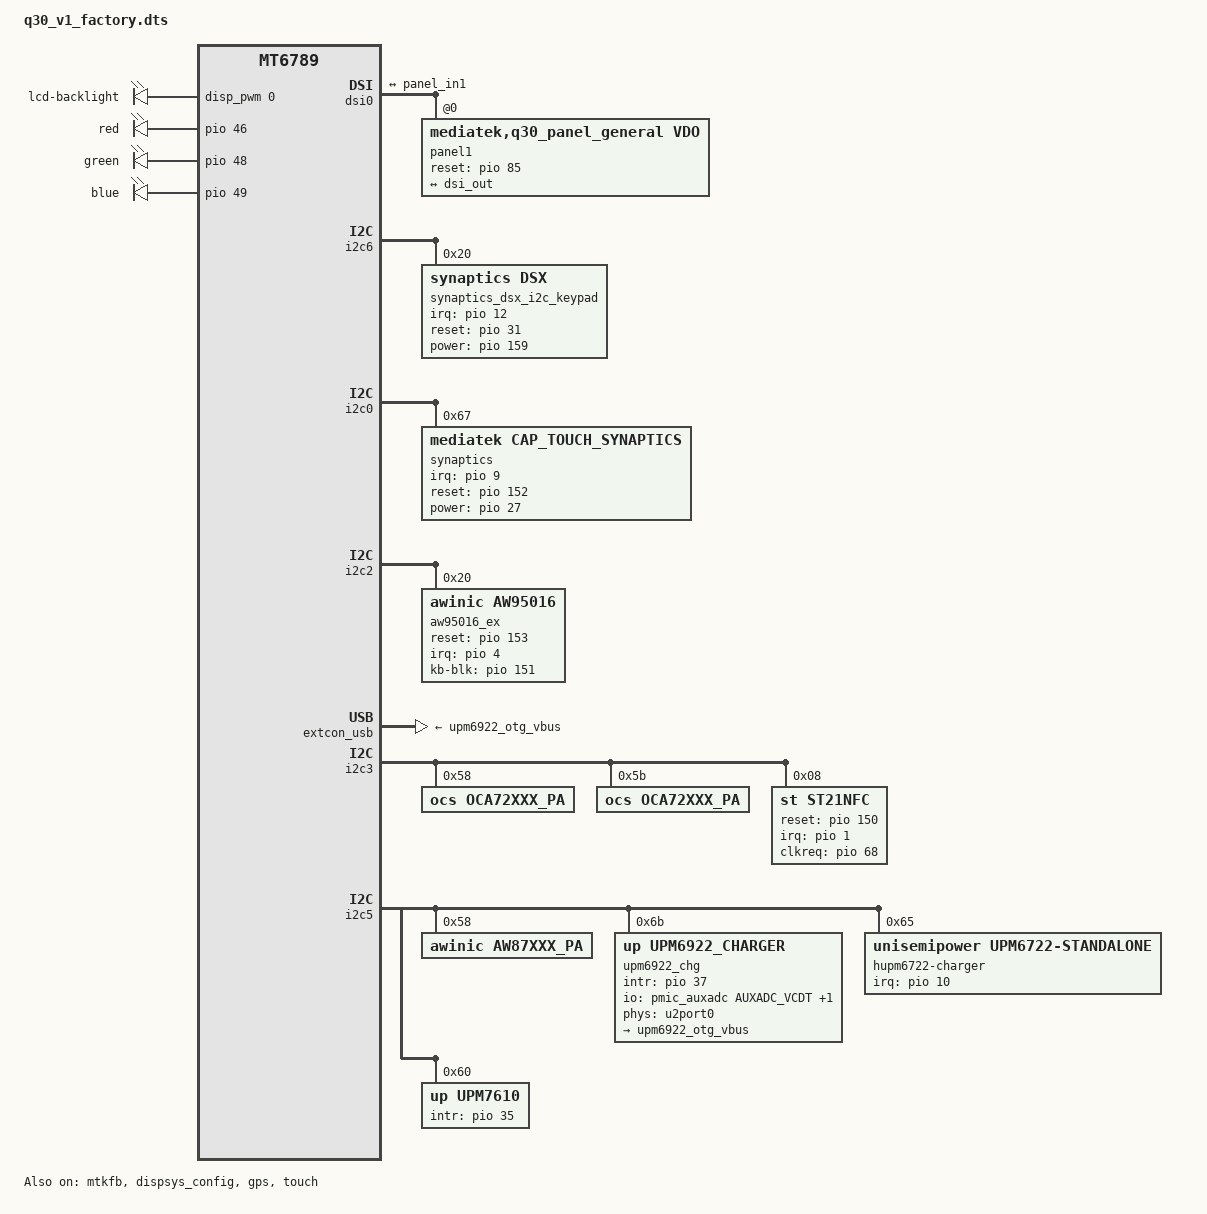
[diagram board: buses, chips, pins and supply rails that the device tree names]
// SPDX-License-Identifier: (GPL-2.0 OR MIT)
/*
 * Copyright (C) 2021 MediaTek Inc.
 */
/dts-v1/;
/plugin/;
#include <dt-bindings/interrupt-controller/arm-gic.h>
#include <dt-bindings/interrupt-controller/irq.h>
#include <dt-bindings/pinctrl/mt6789-pinfunc.h>
#include <dt-bindings/usb/pd.h>
#include <dt-bindings/phy/phy.h>
#include <dt-bindings/iio/mt635x-auxadc.h>
#include "mediatek/cust_mt6789_camera.dtsi"

&chosen {

};

&mtk_leds {
	compatible = "mediatek,pwm-leds";

	backlight {
		label = "lcd-backlight";
		max-brightness = <255>;
		max-hw-brightness = <1023>;
		led_mode = <5>;
		gate_enable = <0>;
		pwm_config = <0 1 0 0 0>;
		pwms = <&disp_pwm 0 39385>;
		pwm-names = "lcd-backlight";
	};
};

&odm {
	leds {
		compatible = "gpio-leds";
		red {
			label = "red";
			gpios = <&pio 46 0>;
			power_off_charge,label = "red1";
			linux,default-trigger = "battery_red";
			default-state = "keep";
		};
		green {
			label = "green";
			gpios = <&pio 48 0>;
			default-state = "keep";
			power_off_charge,label = "green1";
			linux,default-trigger = "battery_green";
		};
		blue {
			label = "blue";
			gpios = <&pio 49 0>;
			default-state = "off";
		};
	};
	
};


&pio {
	mtkfb_pins_lcm_led_en1: lcm_led_en1_gpio {
		pins_cmd_dat {
			pinmux = <PINMUX_GPIO84__FUNC_GPIO84>;
			slew-rate = <1>;
			output-high;
		};
	};

	mtkfb_pins_lcm_led_en0: lcm_led_en0_gpio {
		pins_cmd_dat {
			pinmux = <PINMUX_GPIO84__FUNC_GPIO84>;
			slew-rate = <1>;
			output-low;
		};
	};

	mtkfb_pins_lcm_rst_out1_gpio: lcm_rst_out1_gpio {
		pins_cmd_dat {
			pinmux = <PINMUX_GPIO85__FUNC_GPIO85>;
			slew-rate = <1>;
			output-high;
		};
	};

	mtkfb_pins_lcm_rst_out0_gpio: lcm_rst_out0_gpio {
		pins_cmd_dat {
			pinmux = <PINMUX_GPIO85__FUNC_GPIO85>;
			slew-rate = <1>;
			output-low;
		};
	};
	mtkfb_pins_lcm_dsi_te: lcm_dsi_te {
		pins_cmd_dat {
			pinmux = <PINMUX_GPIO83__FUNC_DSI_TE>;
		};
	};
};

&mtkfb {
	pinctrl-names = "lcm_led_en1_gpio", "lcm_led_en0_gpio",
		"lcm_rst_out1_gpio", "lcm_rst_out0_gpio",
		"mode_te_te";
	pinctrl-0 = <&mtkfb_pins_lcm_led_en1>;
	pinctrl-1 = <&mtkfb_pins_lcm_led_en0>;
	pinctrl-2 = <&mtkfb_pins_lcm_rst_out1_gpio>;
	pinctrl-3 = <&mtkfb_pins_lcm_rst_out0_gpio>;
	pinctrl-4 = <&mtkfb_pins_lcm_dsi_te>;
	status = "okay";
};

&dispsys_config {
	pinctrl-names =
		"lcm_rst_out1_gpio", "lcm_rst_out0_gpio",
		"mode_te_te";
	pinctrl-0 = <&mtkfb_pins_lcm_rst_out1_gpio>;
	pinctrl-1 = <&mtkfb_pins_lcm_rst_out0_gpio>;
	pinctrl-2 = <&mtkfb_pins_lcm_dsi_te>;
	status = "okay";
};

&dsi0 {
	status = "okay";
	#address-cells = <1>;
	#size-cells = <0>;
	
	panel1@0 {
		compatible = "mediatek,q30_panel_general,vdo";
		reg = <0>;
		reset-gpios = <&pio 85 0>;
		/* disp_pwm-gpios = <&pio 84 0>; */
		board_name = "q30_v1";
		port {
			panel_in1: endpoint {
				remote-endpoint = <&dsi_out>;
			};
		};
		
	};
	ports {
		port {
			dsi_out: endpoint {
				remote-endpoint = <&panel_in1>;
			};
		};
	};
};
&accdet {
	accdet-mic-vol = <6>;
	headset-mode-setting = <0x500 0x500 1 0x1f0 0x800 0x800 0x20 0x44>,
	                       < 0x0 0x0 0xe 0x0 0x0 0x0 0x0 0x0>;
	accdet-plugout-debounce = <1>;
	/*1:ACC mode, 2:low cost without in bias, 6:low cost with in bias*/
	accdet-mic-mode = <1>;
	/* eint_level_trigger: 8,LEVEL_LOW(DEF) ;4,LV_HIGH;others,LV_LOW */
	headset-eint-level-pol = <8>;
	/*0--MD_MAX--UP_MAX--DW_MAX*/
	headset-three-key-threshold = <0 80 220 400>;
	headset-three-key-threshold-CDD = <0 121 192 600>;
	/*0--MD_MAX--VOICE_MAX--UP_MAX--DW_MAX*/
	headset-four-key-threshold = <0 58 121 192 400>;
};


/* GPS GPIO standardization start */
&pio {
	gps_pins_default: gps_default {
	};
	gps_l1_lna_pins_ol: gps_l1_lna@0 {
		pins_cmd_dat {
			pinmux = <PINMUX_GPIO25__FUNC_GPIO25>;
			output-low;
		};
	};
	gps_l1_lna_pins_dsp_ctrl: gps_l1_lna@1 {
		pins_cmd_dat {
			pinmux = <PINMUX_GPIO25__FUNC_GPS_L1_ELNA_EN>;
		};
	};
	gps_l1_lna_pins_oh: gps_l1_lna@2 {
		pins_cmd_dat {
			pinmux = <PINMUX_GPIO25__FUNC_GPIO25>;
			output-high;
		};
	};
	gps_l5_lna_pins_ol: gps_l5_lna@0 {
		pins_cmd_dat {
			pinmux = <PINMUX_GPIO87__FUNC_GPIO87>;
			output-low;
		};
	};
	gps_l5_lna_pins_dsp_ctrl: gps_l5_lna@1 {
		pins_cmd_dat {
			pinmux = <PINMUX_GPIO87__FUNC_GPS_L5_ELNA_EN>;
		};
	};
	gps_l5_lna_pins_oh: gps_l5_lna@2 {
		pins_cmd_dat {
			pinmux = <PINMUX_GPIO87__FUNC_GPIO87>;
			output-high;
		};
	};
};
&gps {
	pinctrl-names = "default",
		"gps_l1_lna_disable",
		"gps_l1_lna_dsp_ctrl",
		"gps_l1_lna_enable",
		"gps_l5_lna_disable",
		"gps_l5_lna_dsp_ctrl",
		"gps_l5_lna_enable";
	pinctrl-0 = <&gps_pins_default>;
	pinctrl-1 = <&gps_l1_lna_pins_ol>;
	pinctrl-2 = <&gps_l1_lna_pins_dsp_ctrl>;
	pinctrl-3 = <&gps_l1_lna_pins_oh>;
	pinctrl-4 = <&gps_l5_lna_pins_ol>;
	pinctrl-5 = <&gps_l5_lna_pins_dsp_ctrl>;
	pinctrl-6 = <&gps_l5_lna_pins_oh>;
	status = "okay";
};
/* GPS GPIO standardization end */
#include "mediatek/cust_mt6789_camera_v4l2.dtsi"

&pdc {
	pd_vbus_upper_bound = <12000000>;
};

&charger {
		charger = <&upm6922_chg>;
		algorithm_name = "Basic";
		disable_aicl;

		/* common */
		battery_cv = <4440000>;
		max_charger_voltage = <12000000>;
		min_charger_voltage = <4600000>;

		/* sw jeita */
		/* enable_vbat_mon = <1>; */
		/* enable_sw_jeita; */
		jeita_temp_above_t4_cv = <4240000>;
		jeita_temp_t3_to_t4_cv = <4240000>;
		jeita_temp_t2_to_t3_cv = <4340000>;
		jeita_temp_t1_to_t2_cv = <4240000>;
		jeita_temp_t0_to_t1_cv = <4040000>;
		jeita_temp_below_t0_cv = <4040000>;
		temp_t4_thres = <50>;
		temp_t4_thres_minus_x_degree = <47>;
		temp_t3_thres = <45>;
		temp_t3_thres_minus_x_degree = <39>;
		temp_t2_thres = <10>;
		temp_t2_thres_plus_x_degree = <16>;
		temp_t1_thres = <0>;
		temp_t1_thres_plus_x_degree = <6>;
		temp_t0_thres = <0>;
		temp_t0_thres_plus_x_degree = <0>;
		temp_neg_10_thres = <0>;

		/* battery temperature protection */
		enable_min_charge_temp;
		min_charge_temp = <(-5)>;
		min_charge_temp_plus_x_degree = <1>;
		max_charge_temp = <55>;
		max_charge_temp_minus_x_degree = <53>;

		/* charging current */
		usb_charger_current = <500000>;
		ac_charger_current = <3250000>;
		ac_charger_input_current = <3000000>;
		charging_host_charger_current = <3250000>;

		/* dynamic mivr */
		/* enable_dynamic_mivr;*/
		min_charger_voltage_1 = <4400000>;
		min_charger_voltage_2 = <4200000>;
		max_dmivr_charger_current = <1800000>;

		/* fast charging algo support indicator */
		/* enable_fast_charging_indicator; */
};


&pe5 {
	polling_interval = <10000>;
	ta_cv_ss_repeat_tmin = <25>;
	vbat_cv = <4440>;
	start_soc_min = <0>;
	start_soc_max = <80>;
	start_vbat_max = <4300>;
	idvchg_term = <500>;
	idvchg_step = <50>;
	ita_level = <3000 2500 2000 1500>;
	rcable_level = <250 300 375 500>;
	ita_level_dual = <5000 3700 3400 3000>;
	rcable_level_dual = <230 350 450 550>;
	idvchg_ss_init = <1000>;
	idvchg_ss_step = <250>;
	idvchg_ss_step1 = <100>;
	idvchg_ss_step2 = <50>;
	idvchg_ss_step1_vbat = <4000>;
	idvchg_ss_step2_vbat = <4200>;
	ta_blanking = <400>;
	swchg_aicr = <0>;
	swchg_ichg = <2000>;
	swchg_aicr_ss_init = <400>;
	swchg_aicr_ss_step = <200>;
	swchg_off_vbat = <4250>;
	force_ta_cv_vbat = <4400>;
	chg_time_max = <5400>;
	tta_level_def = <0 0 0 0 25 50 60 70 80>;
	tta_curlmt = <0 0 0 0 0 300 600 900 (-1)>;
	tta_recovery_area = <3>;
	tbat_level_def = <0 0 0 5 25 40 43 46 50>;
	tbat_curlmt = <(-1) (-1) (-1) 300 0 600 900 1050 (-1)>;
	tbat_recovery_area = <3>;
	tdvchg_level_def = <0 0 0 5 25 65 70 75 90>;
	tdvchg_curlmt = <(-1) (-1) (-1) 300 0 300 600 900 (-1)>;
	tdvchg_recovery_area = <3>;
	tswchg_level_def = <0 0 0 5 25 65 70 75 80>;
	tswchg_curlmt = <(-1) (-1) (-1) 200 0 200 300 400 (-1)>;
	tswchg_recovery_area = <3>;
	ifod_threshold = <200>;
	rsw_min = <20>;
	ircmp_rbat = <40>;
	ircmp_vclamp = <0>;
	vta_cap_min = <6800>;
	vta_cap_max = <11000>;
	ita_cap_min = <1000>;
	support_ta = "pca_ta_pps", "pd_adapter";
	allow_not_check_ta_status;
	vbat_threshold = <4250>;
};

&i2c6 {
	synaptics_dsx_i2c_keypad@20 {
		compatible = "synaptics,dsx";
		reg = <0x20>;
		synaptics,input-device-name = "touch_kbd";
		synaptics,irq-gpio = <&pio 12 0>;
		synaptics,irq-flags = <0x2008>;
		synaptics,reset-gpio = <&pio 31 0>;
		synaptics,reset-on-state = <0>;
		synaptics,reset-delay-ms = <63>;
		synaptics,reset-active-ms = <1>;
		synaptics,power-gpio = <&pio 159 0x00>;
		synaptics,power-on-state = <1>;
		synaptics,power-delay-ms = <200>;
		/* synaptics,touchpad; */
		synaptics,firmware = "passport_keyboard.bin";
		synaptics,flash-only-bricked;
	};
};
/* TOUCH start */
&i2c0 {
	synaptics:synaptics@67 {
		status = "okay";
		compatible = "mediatek,cap_touch_synaptics";
		reg = <0x67>;

		boot_mode = <&chosen>;
		synaptics,irq-gpio = <&pio 9 0x00>;
		synaptics,irq-on-state = <0>;
		synaptics,reset-gpio = <&pio 152 0x00>;
		synaptics,reset-on-state = <0>;
		synaptics,reset-delay-ms = <60>;
		synaptics,reset-active-ms = <200>;
		synaptics,power-gpio = <&pio 27 0x00>;
		synaptics,power-on-state = <1>;
		synaptics,power-delay-ms = <200>;
		synaptics,input-device-name = "touch_display";
		synaptics,firmware = "passport_display.bin";
	};
};

&i2c2 {
	status = "okay";
	aw95016_ex@20 {
		compatible = "awinic,aw95016";
		reg = <0x20>;
		reset-gpio = <&pio 153 0>; //rst gpio
		irq-gpio = <&pio 4 0>; //irq gpio
		status = "okay";
		aw95016,single_key_enable = <0>; //enable single key function, 0 to disable
		aw95016,matrix_key_enable = <1>; //enable matrix key function, 0 to disable
		aw95016,gpio_enable = <0>; //enable gpio function, 0 to disable
		aw95016,kb-blk-gpio = <&pio 151 0>; //keyboard backlight gpio
		aw95016,key{
			aw95016,wake_up_enable = <0>; //enabel key function in suspend mode,0 to disable
			aw95016,input_port_mask = <0x1F00>; // 0000 1111 0000 0000 Identifies the pin port for the input. here: P1_0-P1_3
			aw95016,output_port_mask = <0x00FC>; //1111 0000 0000 0000 Identifies the pin port for the output here: P1_4-P1_7
		};
		aw95016,gpio{
			aw95016,gpio_mode = <1>;
			gpio02{
				aw95016,gpio_idx = <2>; // The specific port identifier used, This is used here:P0_2
				aw95016,gpio_dir = <1>; // The specific port work in output(1) or input(0)
				aw95016,gpio_default_val = <0>;
			};
			gpio03{
				aw95016,gpio_idx = <3>; // The specific port identifier used, This is used here:P0_3
				aw95016,gpio_dir = <1>; //The specific port work in output(1) or input(0)
				aw95016,gpio_default_val = <0>;
			};
			gpio04{
				aw95016,gpio_idx = <4>; // The specific port identifier used, This is used here:P0_4
				aw95016,gpio_dir = <1>; //The specific port work in output(1) or input(0)
				aw95016,gpio_default_val = <0>;
			};
			gpio05{
				aw95016,gpio_idx = <5>; // The specific port identifier used, This is used here:P0_5
				aw95016,gpio_dir = <1>; //The specific port work in output(1) or input(0)
				aw95016,gpio_default_val = <0>;
			};
			gpio06{
				aw95016,gpio_idx = <6>; // The specific port identifier used, This is used here:P0_6
				aw95016,gpio_dir = <1>; //The specific port work in output(1) or input(0)
				aw95016,gpio_default_val = <0>;
			};
			gpio07{
				aw95016,gpio_idx = <7>; // The specific port identifier used, This is used here:P0_7
				aw95016,gpio_dir = <1>; //The specific port work in output(1) or input(0)
				aw95016,gpio_default_val = <0>;
			};
			gpio10{
				aw95016,gpio_idx = <8>; // The specific port identifier used, This is used here:P1_0
				aw95016,gpio_dir = <0>; // The specific port work in output(1) or input(0)
				aw95016,gpio_default_val = <1>;
			};
			gpio11{
				aw95016,gpio_idx = <9>; // The specific port identifier used, This is used here:P1_1
				aw95016,gpio_dir = <0>; // The specific port work in output(1) or input(0)
				aw95016,gpio_default_val = <1>;
			};
			gpio12{
				aw95016,gpio_idx = <10>; // The specific port identifier used, This is used here:P1_2
				aw95016,gpio_dir = <0>; // The specific port work in output(1) or input(0)
				aw95016,gpio_default_val = <1>;
			};
			gpio13{
				aw95016,gpio_idx = <11>; // The specific port identifier used, This is used here:P1_3
				aw95016,gpio_dir = <0>; //The specific port work in output(1) or input(0)
				aw95016,gpio_default_val = <1>;
			};
			gpio14{
				aw95016,gpio_idx = <12>; // The specific port identifier used, This is used here:P1_4
				aw95016,gpio_dir = <0>; //The specific port work in output(1) or input(0)
				aw95016,gpio_default_val = <1>;
			};
		};
	};
};

&touch {
	tpd-resolution = <1440 1440>;
	use-tpd-button = <0>;
	tpd-key-num = <3>;
	tpd-key-local= <139 172 158 0>;
	tpd-key-dim-local = <90 883 100 40 230
				 883 100 40 370 883 100 40 0 0 0 0>;
	tpd-max-touch-num = <5>;
	tpd-filter-enable = <1>;
	tpd-filter-pixel-density = <146>;
	tpd-filter-custom-prameters = <0 0 0 0 0 0 0 0 0 0 0 0>;
	tpd-filter-custom-speed = <0 0 0>;
	pinctrl-names = "default", "state_eint_as_int", "state_eint_output0",
		"state_eint_output1", "state_rst_output0", "state_rst_output1";
	pinctrl-0 = <&ctp_pins_default>;
	pinctrl-1 = <&ctp_pins_eint_as_int>;
	pinctrl-2 = <&ctp_pins_eint_output0>;
	pinctrl-3 = <&ctp_pins_eint_output1>;
	pinctrl-4 = <&ctp_pins_rst_output0>;
	pinctrl-5 = <&ctp_pins_rst_output1>;
	status = "okay";
};
&pio {
	ctp_pins_default: ctp_pins_default0default {
	};
	ctp_pins_eint_as_int: ctp_pins_eint_as_int@0 {
		pins_cmd_dat {
			pinmux = <PINMUX_GPIO9__FUNC_GPIO9>;
			slew-rate = <0>;
		};
	};
	ctp_pins_eint_output0: ctp_pins_eint_output@0 {
		pins_cmd_dat {
			pinmux = <PINMUX_GPIO9__FUNC_GPIO9>;
			slew-rate = <1>;
			output-low;
		};
	};
	ctp_pins_eint_output1: ctp_pins_eint_output@1 {
		pins_cmd_dat {
			pinmux = <PINMUX_GPIO9__FUNC_GPIO9>;
			slew-rate = <1>;
			output-high;
		};
	};
	ctp_pins_rst_output0: ctp_pins_rst_output@0 {
		pins_cmd_dat {
			pinmux = <PINMUX_GPIO152__FUNC_GPIO152>;
			slew-rate = <1>;
			output-low;
		};
	};
	ctp_pins_rst_output1: ctp_pins_rst_output@1 {
		pins_cmd_dat {
			pinmux = <PINMUX_GPIO152__FUNC_GPIO152>;
			slew-rate = <1>;
			output-high;
		};
	};
};
/* TOUCH end */
&mtk_gauge {
	charger = <&upm6922_chg>;
};

&mtk_ctd {
	bc12 = <&upm6922_chg>;
};

&extcon_usb {
	charger = <&upm6922_chg>;
	vbus-supply = <&upm6922_otg_vbus>;
	vbus-voltage = <0>;
	vbus-current = <0>;
};

&i2c3 {
/* K9 PA Settings */
	oca72xxx_pa@58 {
		compatible = "ocs,oca72xxx_pa";
		reg = <0x58>;
	/*	reset-gpio = <&pio 106 0>;*/
		dev_index = < 1 >;
		status = "okay";
	};
	oca72xxx_pa@5b {
		compatible = "ocs,oca72xxx_pa";
		reg = <0x5b>;
		/*	reset-gpio = <&pio 107 0>;*/
		dev_index = < 0 >;
		/*第 2 个 PA dev_index 为 1*/
		status = "okay";
	};
	
	st21nfc: st21nfc@08 {
		compatible = "st,st21nfc";
		reg = <0x08>;
		interrupt-parent = <&pio>;
		interrupts = <1 IRQ_TYPE_LEVEL_LOW>;
		reset-gpios = <&pio 150 0x00>;
		irq-gpios = <&pio 1 0x0>;
		clkreq-gpios = <&pio 68 0x00>;
		status = "ok";
	};	
};

&i2c5 {
/* K9 PA Settings */
	aw87xxx_pa@58 {
		compatible = "awinic,aw87xxx_pa";
		reg = <0x58>;
		//reset-gpio = <&pio 106 0>;
		dev_index = < 0 >;
		status = "okay";
	};
	upm6922_chg:upm6922@6B {
		status = "okay";
		compatible = "up,upm6922_charger";
		reg = <0x6b>;
		up,intr_gpio = <&pio 37 0>;

		up,upm6922,ichg = <3000>;				/* unit:1mA */
		up,upm6922,iprechg = <180>;            /* unit:1mA */
		up,upm6922,iterm = <200>;              /* unit:1mA */
		up,upm6922,vreg = <4440>;              /* unit:1mV */
		up,upm6922,vindpm = <4600>;            /* unit:1mV */
		up,upm6922,boostv = <5000>;            /* unit:1mV */
		up,upm6922,boosti = <1200>;            /* unit:1mA */
		up,upm6922,vac-ovp = <14000>;          /* unit:1mV */
		
		bc12_sel = <&mtk_ctd>;
		boot_mode = <&chosen>;
		phys = <&u2port0 PHY_TYPE_USB2>;
		phy-names = "usb2-phy";
		usb = <&usb>;
		gauge = <&mtk_gauge>;
		io-channels =
			<&pmic_auxadc AUXADC_VCDT>,
			<&pmic_auxadc AUXADC_BATADC>;
		io-channel-names =
			"pmic6366_vcdt",
			"pmic6366_batadc";
			
		upm6922_otg_vbus: otg {
			regulator-compatible = "upm6922,otg-vbus";
			regulator-name = "usb-otg-vbus";
		};
	};
	
	hupm6722-charger@65 {
		status = "okay";
		compatible = "unisemipower,upm6722-standalone";
		reg = <0x65>;		//I2C1 SENSOR_I2C
		upm6722,irq-gpio = <&pio 10 0>;

		// upm6722,bat-ovp-disable;
		upm6722,bat-ocp-disable;
		// upm6722,bus-ucp-disable;
		// upm6722,bus-rcp-disable;
		// upm6722,vout-ovp-disable;
		// upm6722,tdie-flt-disable;
		upm6722,tsbus-flt-disable;
		upm6722,tsbat-flt-disable;
		upm6722,wdt-disable;
		upm6722,vbus-errhi-disable;

		upm6722,bat-ovp-threshold = <4525>;			/* unit: 1mV */
		upm6722,bat-ocp-threshold = <8200>;			/* unit: 1mA */
		upm6722,bus-ovp-threshold = <12000>;		/* unit: 1mV */
		upm6722,bus-ocp-threshold = <5100>;			/* unit: 1mA */
		upm6722,bus-ucp-threshold = <250>;			/* unit: 1mA */
		upm6722,bus-rcp-threshold = <300>;			/* unit: 1mA */
		upm6722,vac1-ovp-threshold = <18000>;		/* unit: 1mV */
		upm6722,vac2-ovp-threshold = <18000>;		/* unit: 1mV */
		upm6722,vout-ovp-threshold = <5000>;		/* unit: 1mV */
		upm6722,tdie-flt-threshold = <140>;			/* unit: 1℃ */
		upm6722,tsbus-flt-threshold = <4102>;		/* unit: 0.001% */
		upm6722,tsbat-flt-threshold = <4102>;		/* unit: 0.001% */
		
		// upm6722,bat-ovp-mask;
		// upm6722,bat-ocp-mask;
		// upm6722,bus-ovp-mask;
		// upm6722,bus-ocp-mask;
		// upm6722,bus-ucp-mask;
		// upm6722,bus-rcp-mask;
		// upm6722,vout-ovp-mask;
		// upm6722,vac1-ovp-mask;
		// upm6722,vac2-ovp-mask;

		// upm6722,vout-present-mask;
		// upm6722,vac1-present-mask;
		// upm6722,vac2-present-mask;
		// upm6722,vbus-present-mask;
		// upm6722,acrb1-config-mask;
		// upm6722,acrb2-config-mask;
		// upm6722,cfly-short-mask;
		// upm6722,adc-done-mask;
		// upm6722,ss-timeout-mask;
		// upm6722,tsbus-flt-mask;
		// upm6722,tsbat-flt-mask;
		// upm6722,tdie-flt-mask;
		// upm6722,wd-mask;
		// upm6722,regn-good-mask;
		// upm6722,conv-active-mask;
		// upm6722,vbus-errhi-mask;

		// upm6722,bat-ovp-alm-disable;
		 upm6722,bat-ocp-alm-disable;
		// upm6722,bat-ucp-alm-disable;
		// upm6722,bus-ovp-alm-disable;
		// upm6722,tdie-alm-disable;

		upm6722,bat-ovp-alm-threshold = <4510>;		/* unit: 1mV */
		upm6722,bat-ocp-alm-threshold = <8000>;		/* unit: 1mA */
		upm6722,bat-ucp-alm-threshold = <0>;		/* unit: 1mA */
		upm6722,bus-ovp-alm-threshold = <11800>;	/* unit: 1mV */
		upm6722,bus-ocp-alm-threshold = <5000>;		/* unit: 1mA */
		upm6722,tdie-alm-threshold = <125>;			/* unit: 1℃ */

		// upm6722,bat-ovp-alm-mask;
		// upm6722,bat-ocp-alm-mask;
		// upm6722,bat-ucp-alm-mask;
		// upm6722,bus-ovp-alm-mask;
		// upm6722,bus-ocp-alm-mask;
		// upm6722,tsbus-tsbat-alm-mask;	
		// upm6722,tdie-alm-mask;	

		// upm6722,bus-pulldown-en;
		// upm6722,vac1-pulldown-en;
		// upm6722,vac2-pulldown-en;

		upm6722,sense-resistor-mohm = <5>;	/* unit: 1mohm */
		upm6722,ss-timeout = <10000>;		/* unit: 1ms */
		upm6722,wdt-set = <30000>;			/* unit: 1ms */
		upm6722,chg-config-1 = <1>;
		upm6722,fsw-set = <5>;				/*0:230K 1:310K 2:370K 3:460K 4:610K 5:970k*/
		upm6722,freq-shift = <0>;
		upm6722,ibus-ucp-fall-dg-sel = <0>;

		upm6722,adc-enable;
		upm6722,adc-rate = <0>;
		upm6722,adc-avg = <0>;
		upm6722,adc-avg-init = <0>;
		upm6722,adc-sample-bit = <0>;
		// upm6722,ibus-adc-disable;
		// upm6722,vbus-adc-disable;
		// upm6722,vac1-adc-disable;
		// upm6722,vac2-adc-disable;
		// upm6722,vout-adc-disable;
		// upm6722,vbat-adc-disable;
		// upm6722,ibat-adc-disable;
		// upm6722,tsbus-adc-disable;
		// upm6722,tsbat-adc-disable;
		// upm6722,tdie-adc-disable;
	};
};

&i2c5 {
	upm7610@60 {
		compatible = "up,upm7610";
		reg = <0x60>;
		status = "okay";
		rt-tcpc,name = "type_c_port0"; /* tcpc_device's name */
		rt-tcpc,role_def = <5>; /* 0: Unknown, 1: SNK, 2: SRC */
					/* 3: DRP, 4: Try.SRC, 5: Try.SNK */
		rt-tcpc,rp_level = <0>; /* 0: Default, 1: 1.5, 2: 3.0 */
		rt-tcpc,vconn_supply  = <1>;  /* 0: Never, 1: Always, */
					      /* 2: EMarkOnly, 3: StartOnly */
		rt-tcpc,notifier_supply_num = <3>;
		upm7610pd,intr_gpio = <&pio 35 0x0>;
		upm7610pd,intr_gpio_num = <35>;
		pd-data {
			pd,vid = <0x362f>;
			pd,pid = <0x7610>;
			pd,source-cap-ext = <0x7610362f 0x00000000 0x00000000
					     0x00000000 0x00000000 0x02000000>;
			pd,mfrs = "UnisemipowerTCPC";

			/*
			 *	VSAFE5V = 0, MAX_POWER = 1, CUSTOM = 2,
			 *	MAX_POWER_LV = 0x21, MAX_POWER_LVIC = 0x31
			 *	MAX_POWER_HV = 0x41, MAX_POWER_HVIC = 0x51
			 */
			pd,charging_policy= <0x21>;

			/*
			 * Fixed 5V, 500 mA <0x00019032>
			 * Fixed 5V, 1A <0x00019064>
			 * Fixed 5V, 2A <0x000190c8>
			 * Fixed 5V, 3A <0x0001912c>
			 * Fixed 9V, 500 mA <0x0002d032>
			 * Fixed 9V, 1A <0x0002d064>
			 * Fixed 5V, 1.5A <0x00019096>
			 * Fixed 9V, 2A <0x0002d0c8>
			 * Fixed 9V, 3A <0x0002d12c>
			 * Fixed 12V, 2A <0x0003c0c8>
			 * Fixed 12V, 2.5A <0x0003c0fa>
			 * Fixed 12V, 3A <0x0003c12c>
			 * Variable 5-9V, 1A <0x8642d064>
			 * Variable 5-9V, 2A <0x8642d0c8>
			 * Variable 5-9V, 3A <0x8642d12c>
			 * PPS 3V~5.9V, 3A <0xc0761e3c>
			 * PPS 3V~11V, 3A  <0xc0dc1e3c>
			 * PPS 3V~11V, 3.25A  <0xc0dc1e41>
			 * PPS 3.3V~11V, 3A  <0xc0dc213c>
			 * PPS 5V~11V, 3.25A <0xc0dc3241>
			 * PPS 5V~20V, 3.25A <0xc1903241>
			 */

			pd,source-pdo-size = <1>;
			pd,source-pdo-data = <0x00019032>;
			/* 5V, 500 mA */
			
			pd,sink-pdo-size = <6>;
			pd,sink-pdo-data = <0x000190c8 0x0001912c 0x0002d0c8 0x0002d12c 0xc0dc213c 0xc1903241>;
			/* 0x0002d0c8 : 9V, 2A<0x04019032 0x04019064> */

			/*
			 * No DP, host + device
			 *	pd,id-vdo-size = <3>;
			 *	pd,id-vdo-data =
					<0xd00029cf 0x0 0x00010000>;
			 * With DP
			 *	pd,id-vdo-size = <4>;
			 *	pd,id-vdo-data =
			 *	<0xec0029cf 0x0 0x00010000 0x11000001>;
			 */
			 
			pd,id-vdo-size = <4>;
			pd,id-vdo-data = <0xec0029cf 0x0 0x00010000 0x11000001>;

			bat,nr = <1>;
			pd,country_nr = <0>;

			bat-info0 {
				bat,vid = <0x362f>;
				bat,pid = <0x7610>;
				bat,mfrs = "bat1";
				bat,design_cap = <3000>;
			};

			//bat-info1 {
			//	bat,vid = <0x8abc>;
			//	bat,pid = <0x5234>;
			//	bat,mfrs = "bat2";
			//	bat,design_cap = <4000>;
			//};

			//country0 {
			//	pd,country_code = <0x5457>;
			//	pd,country_len = <2>; /* max len = 26 */
			//	pd,country_data = <0xff 0xff>;
			//};

			//country1 {
			//	pd,country_code = <0x5553>;
			//	pd,country_len = <3>; /* max len = 26 */
			//	pd,country_data = <0xf1 0xf2 0xf3>;
			//};
		};
		dpm_caps {
			local_dr_power;
			local_dr_data;
			//local_ext_power;
			local_usb_comm;
			//local_usb_suspend;
			//local_high_cap;
			//local_give_back;
			local_no_suspend;
			local_vconn_supply;

			//attempt_discover_cable_dfp;
			attempt_enter_dp_mode;
			attempt_discover_cable;
			attempt_discover_id;

			/* 0: disable, 1: prefer_snk, 2: prefer_src */
			pr_check = <0>;
			//pr_reject_as_source;
			//pr_reject_as_sink;
			//pr_check_gp_source;
			//pr_check_gp_sink;

			/* 0: disable, 1: prefer_ufp, 2: prefer_dfp */
			dr_check = <0>;
			//dr_reject_as_dfp;
			//dr_reject_as_ufp;
		};
		displayport {
			/* connection type = "both", "ufp_d", "dfp_d" */
			1st_connection = "dfp_d";
			2nd_connection = "dfp_d";
			signal,dp_v13;
			//signal,dp_gen2;
			//usbr20_not_used;
			typec,receptacle;
			ufp_d {
				//pin_assignment,mode_a;
				//pin_assignment,mode_b;
				//pin_assignment,mode_c;
				//pin_assignment,mode_d;
				//pin_assignment,mode_e;
			};
			dfp_d {
				//pin_assignment,mode_a;
				//pin_assignment,mode_b;
				pin_assignment,mode_c;
				pin_assignment,mode_d;
				pin_assignment,mode_e;
				//pin_assignment,mode_f;
			};
		};
	};
};

/*
/delete-node/ &mtk_camera_eeprom0; // Q25 original from cust_mt6789_camera.dtsi i2c7
&i2c7 {
	mtk_camera_eeprom3:camera_eeprom3@53 {
		compatible = "mediatek,camera_eeprom";
		reg = <0x53>;
		status = "okay";
	};
};
&i2c8 {
	mtk_camera_eeprom0:camera_eeprom0@50 {
		compatible = "mediatek,camera_eeprom";
		reg = <0x50>;
		status = "okay";
	};
};
*/

&kd_camera_hw1 {
	cam0_enable_sensor = "s5kjn1_mipi_raw ov64b40_mipi_raw";
	cam1_enable_sensor = "imx111_mipi_raw imx134_mipi_raw";
};

&mtk_gauge {
	battery0_profile_t0_num = <100>;
	battery0_profile_t0_col = <4>;
	battery0_profile_t0 =
	<
	0     43910     1020     1570
	300     43790     1020     1730
	600     43680     1020     1655
	900     43570     1020     1582
	1200     43470     1030     1512
	1500     43360     1030     1435
	1800     43250     1030     1398
	2100     43130     1030     1343
	2400     43020     1030     1302
	2700     42900     1030     1272
	3000     42780     1040     1244
	3300     42660     1040     1211
	3600     42550     1040     1175
	3900     42430     1050     1144
	4200     42310     1050     1126
	4500     42190     1050     1108
	4800     42080     1060     1090
	5100     41960     1060     1081
	5400     41850     1060     1073
	5700     41730     1070     1070
	6000     41620     1080     1065
	6300     41500     1080     1056
	6600     41390     1090     1042
	6900     41280     1090     1016
	7200     41170     1100     990
	7500     41060     1100     999
	7800     40950     1110     1008
	8100     40840     1120     1017
	8400     40740     1130     1020
	8700     40630     1140     1020
	9000     40530     1140     1011
	9300     40420     1150     997
	9600     40320     1160     985
	9900     40220     1170     970
	10200     40120     1170     970
	10500     40010     1180     961
	10800     39910     1180     960
	11100     39800     1180     967
	11400     39690     1170     976
	11700     39580     1150     1001
	12000     39470     1130     1033
	12300     39370     1120     1060
	12600     39270     1100     1080
	12900     39160     1080     1083
	13200     39060     1060     1100
	13500     38970     1040     1100
	13800     38890     1040     1100
	14100     38810     1030     1100
	14400     38740     1030     1100
	14700     38680     1030     1094
	15000     38610     1030     1090
	15300     38550     1040     1090
	15600     38500     1040     1090
	15900     38440     1040     1090
	16200     38390     1040     1090
	16500     38340     1050     1089
	16800     38280     1060     1080
	17100     38240     1060     1080
	17400     38190     1070     1080
	17700     38150     1080     1080
	18000     38100     1080     1080
	18300     38060     1090     1074
	18600     38020     1090     1064
	18900     37980     1100     1060
	19200     37940     1110     1060
	19500     37900     1110     1060
	19800     37870     1110     1060
	20100     37830     1100     1060
	20400     37780     1090     1063
	20700     37730     1090     1073
	21000     37680     1070     1080
	21300     37620     1060     1080
	21600     37560     1040     1081
	21900     37520     1050     1090
	22200     37470     1050     1091
	22500     37430     1050     1100
	22800     37380     1040     1100
	23100     37340     1040     1090
	23400     37300     1040     1080
	23700     37260     1050     1071
	24000     37230     1060     1070
	24300     37180     1060     1070
	24600     37120     1050     1061
	24900     37060     1040     1060
	25200     37000     1050     1052
	25500     36940     1060     1059
	25800     36860     1050     1060
	26100     36790     1020     1052
	26400     36780     1030     1034
	26700     36770     1050     1014
	27000     36760     1080     1002
	27300     36740     1100     1000
	27600     36720     1130     955
	27900     36680     1160     806
	28200     36570     1160     800
	28500     36250     1090     800
	28800     35800     1110     800
	29100     35210     1130     800
	29400     34420     1180     800
	29700     33250     1290     800
	>;
	battery0_profile_t1_num = <100>;
	battery0_profile_t1_col = <4>;
	battery0_profile_t1 =
	<
	0     43930     1460     1570
	300     43790     1460     1730
	600     43680     1470     1655
	900     43570     1480     1582
	1200     43460     1480     1512
	1500     43350     1490     1435
	1800     43230     1490     1398
	2100     43110     1500     1343
	2400     42990     1490     1302
	2700     42870     1500     1272
	3000     42750     1490     1244
	3300     42630     1500     1211
	3600     42510     1510     1175
	3900     42390     1510     1144
	4200     42270     1510     1126
	4500     42160     1520     1108
	4800     42040     1520     1090
	5100     41930     1530     1081
	5400     41810     1530     1073
	5700     41700     1540     1070
	6000     41580     1550     1065
	6300     41470     1550     1056
	6600     41360     1560     1042
	6900     41240     1570     1016
	7200     41130     1580     990
	7500     41020     1590     999
	7800     40910     1590     1008
	8100     40790     1600     1017
	8400     40680     1610     1020
	8700     40580     1620     1020
	9000     40480     1640     1011
	9300     40370     1640     997
	9600     40240     1640     985
	9900     40120     1630     970
	10200     40000     1630     970
	10500     39890     1630     961
	10800     39790     1610     960
	11100     39680     1580     967
	11400     39570     1560     976
	11700     39470     1530     1001
	12000     39360     1500     1033
	12300     39260     1470     1060
	12600     39170     1450     1080
	12900     39080     1430     1083
	13200     38990     1410     1100
	13500     38910     1400     1100
	13800     38830     1390     1100
	14100     38760     1390     1100
	14400     38690     1380     1100
	14700     38620     1380     1094
	15000     38560     1380     1090
	15300     38510     1390     1090
	15600     38450     1390     1090
	15900     38400     1390     1090
	16200     38340     1390     1090
	16500     38290     1400     1089
	16800     38240     1400     1080
	17100     38200     1400     1080
	17400     38150     1410     1080
	17700     38110     1410     1080
	18000     38060     1410     1080
	18300     38020     1410     1074
	18600     37980     1420     1064
	18900     37940     1420     1060
	19200     37900     1420     1060
	19500     37870     1420     1060
	19800     37830     1420     1060
	20100     37800     1420     1060
	20400     37760     1420     1063
	20700     37730     1410     1073
	21000     37690     1410     1080
	21300     37660     1410     1080
	21600     37630     1400     1081
	21900     37600     1390     1090
	22200     37560     1390     1091
	22500     37530     1390     1100
	22800     37500     1390     1100
	23100     37460     1390     1090
	23400     37420     1400     1080
	23700     37390     1410     1071
	24000     37340     1420     1070
	24300     37290     1430     1070
	24600     37220     1420     1061
	24900     37160     1440     1060
	25200     37100     1450     1052
	25500     37030     1460     1059
	25800     36950     1450     1060
	26100     36900     1450     1052
	26400     36880     1470     1034
	26700     36860     1510     1014
	27000     36840     1550     1002
	27300     36820     1620     1000
	27600     36780     1680     955
	27900     36700     1770     806
	28200     36530     1810     800
	28500     36160     1800     800
	28800     35640     1880     800
	29100     34950     2040     800
	29400     33980     2310     800
	29700     32350     2910     800
	>;
	battery0_profile_t2_num = <100>;
	battery0_profile_t2_col = <4>;
	battery0_profile_t2 =
	<
	0     43930     1460     1570
	300     43790     1460     1730
	600     43680     1470     1655
	900     43570     1480     1582
	1200     43460     1480     1512
	1500     43350     1490     1435
	1800     43230     1490     1398
	2100     43110     1500     1343
	2400     42990     1490     1302
	2700     42870     1500     1272
	3000     42750     1490     1244
	3300     42630     1500     1211
	3600     42510     1510     1175
	3900     42390     1510     1144
	4200     42270     1510     1126
	4500     42160     1520     1108
	4800     42040     1520     1090
	5100     41930     1530     1081
	5400     41810     1530     1073
	5700     41700     1540     1070
	6000     41580     1550     1065
	6300     41470     1550     1056
	6600     41360     1560     1042
	6900     41240     1570     1016
	7200     41130     1580     990
	7500     41020     1590     999
	7800     40910     1590     1008
	8100     40790     1600     1017
	8400     40680     1610     1020
	8700     40580     1620     1020
	9000     40480     1640     1011
	9300     40370     1640     997
	9600     40240     1640     985
	9900     40120     1630     970
	10200     40000     1630     970
	10500     39890     1630     961
	10800     39790     1610     960
	11100     39680     1580     967
	11400     39570     1560     976
	11700     39470     1530     1001
	12000     39360     1500     1033
	12300     39260     1470     1060
	12600     39170     1450     1080
	12900     39080     1430     1083
	13200     38990     1410     1100
	13500     38910     1400     1100
	13800     38830     1390     1100
	14100     38760     1390     1100
	14400     38690     1380     1100
	14700     38620     1380     1094
	15000     38560     1380     1090
	15300     38510     1390     1090
	15600     38450     1390     1090
	15900     38400     1390     1090
	16200     38340     1390     1090
	16500     38290     1400     1089
	16800     38240     1400     1080
	17100     38200     1400     1080
	17400     38150     1410     1080
	17700     38110     1410     1080
	18000     38060     1410     1080
	18300     38020     1410     1074
	18600     37980     1420     1064
	18900     37940     1420     1060
	19200     37900     1420     1060
	19500     37870     1420     1060
	19800     37830     1420     1060
	20100     37800     1420     1060
	20400     37760     1420     1063
	20700     37730     1410     1073
	21000     37690     1410     1080
	21300     37660     1410     1080
	21600     37630     1400     1081
	21900     37600     1390     1090
	22200     37560     1390     1091
	22500     37530     1390     1100
	22800     37500     1390     1100
	23100     37460     1390     1090
	23400     37420     1400     1080
	23700     37390     1410     1071
	24000     37340     1420     1070
	24300     37290     1430     1070
	24600     37220     1420     1061
	24900     37160     1440     1060
	25200     37100     1450     1052
	25500     37030     1460     1059
	25800     36950     1450     1060
	26100     36900     1450     1052
	26400     36880     1470     1034
	26700     36860     1510     1014
	27000     36840     1550     1002
	27300     36820     1620     1000
	27600     36780     1680     955
	27900     36700     1770     806
	28200     36530     1810     800
	28500     36160     1800     800
	28800     35640     1880     800
	29100     34950     2040     800
	29400     33980     2310     800
	29700     32350     2910     800
	>;
	battery0_profile_t3_num = <100>;
	battery0_profile_t3_col = <4>;
	battery0_profile_t3 =
	<
	0     43960     4610     4230
	300     43750     4610     4467
	600     43580     4630     4349
	900     43420     4610     4218
	1200     43270     4570     3953
	1500     43120     4530     3851
	1800     42980     4500     3758
	2100     42840     4470     3459
	2400     42710     4440     3397
	2700     42580     4410     3181
	3000     42450     4390     3148
	3300     42320     4360     2920
	3600     42190     4330     2905
	3900     42070     4320     2702
	4200     41940     4290     2706
	4500     41820     4280     2535
	4800     41700     4260     2459
	5100     41590     4250     2421
	5400     41470     4230     2254
	5700     41350     4220     2198
	6000     41230     4200     2198
	6300     41110     4170     2153
	6600     40990     4150     2076
	6900     40880     4140     2057
	7200     40780     4140     2084
	7500     40670     4150     2095
	7800     40560     4160     2057
	8100     40440     4140     1999
	8400     40300     4090     1974
	8700     40150     4030     1988
	9000     40010     3960     2010
	9300     39870     3900     2007
	9600     39750     3860     1988
	9900     39640     3830     1971
	10200     39540     3820     1989
	10500     39460     3820     2018
	10800     39380     3820     2055
	11100     39300     3820     2068
	11400     39220     3810     2062
	11700     39140     3800     2039
	12000     39050     3790     2036
	12300     38980     3780     2052
	12600     38900     3780     2076
	12900     38820     3770     2095
	13200     38750     3770     2091
	13500     38680     3770     2067
	13800     38610     3770     2050
	14100     38550     3780     2061
	14400     38480     3780     2087
	14700     38420     3790     2106
	15000     38360     3800     2112
	15300     38300     3810     2077
	15600     38250     3820     2040
	15900     38200     3830     2047
	16200     38150     3850     2074
	16500     38100     3860     2094
	16800     38050     3870     2108
	17100     38000     3890     2091
	17400     37960     3900     2053
	17700     37920     3920     2035
	18000     37890     3940     2059
	18300     37860     3960     2086
	18600     37830     3980     2103
	18900     37800     4020     2099
	19200     37770     4050     2065
	19500     37750     4080     2044
	19800     37730     4130     2064
	20100     37700     4170     2095
	20400     37680     4220     2121
	20700     37650     4280     2124
	21000     37620     4340     2100
	21300     37590     4420     2076
	21600     37560     4490     2086
	21900     37530     4570     2124
	22200     37490     4660     2167
	22500     37450     4770     2180
	22800     37400     4860     2157
	23100     37370     4610     2108
	23400     37320     5080     2105
	23700     37260     5300     2123
	24000     37210     5460     2134
	24300     37150     5630     2145
	24600     37100     5810     2144
	24900     37040     5990     2154
	25200     36980     6200     2239
	25500     36910     6420     2421
	25800     36850     6660     2736
	26100     36770     6910     3242
	26400     36690     7210     3671
	26700     36600     7510     3741
	27000     36480     7860     3714
	27300     36350     8240     3710
	27600     36170     8680     3710
	27900     35950     9180     3710
	28200     35680     9800     3710
	28500     35330     10550     3710
	28800     34910     11380     3710
	29000     34620     11550     3710
	29120     34450     11120     3710
	29210     34300     10780     3710
	>;
	battery0_profile_t4_num = <100>;
	battery0_profile_t4_col = <4>;
	battery0_profile_t4 =
	<
	0     44020     8040     8040
	300     43770     8040     8040
	600     43520     9580     9580
	900     43300     9740     9740
	1200     43080     9670     9670
	1500     42890     9560     9560
	1800     42700     9440     9440
	2100     42520     9320     9320
	2400     42340     9190     9190
	2700     42180     9090     9090
	3000     42020     9000     9000
	3290     41870     8900     8900
	3590     41730     8810     8810
	3890     41580     8730     8730
	4190     41440     8640     8640
	4490     41300     8560     8560
	4790     41170     8490     8490
	5090     41050     8440     8440
	5390     40940     8420     8420
	5690     40820     8380     8380
	5990     40690     8330     8330
	6290     40550     8240     8240
	6590     40400     8140     8140
	6890     40250     8020     8020
	7190     40100     7920     7920
	7490     39970     7830     7830
	7790     39860     7780     7780
	8090     39750     7730     7730
	8390     39660     7700     7700
	8690     39570     7690     7690
	8990     39490     7680     7680
	9290     39410     7680     7680
	9580     39330     7660     7660
	9880     39250     7650     7650
	10180     39170     7640     7640
	10480     39090     7630     7630
	10780     39010     7610     7610
	11080     38930     7610     7610
	11380     38850     7610     7610
	11680     38780     7600     7600
	11980     38710     7610     7610
	12280     38640     7610     7610
	12580     38570     7620     7620
	12880     38500     7630     7630
	13180     38440     7650     7650
	13480     38380     7670     7670
	13780     38320     7690     7690
	14080     38270     7700     7700
	14380     38210     7720     7720
	14680     38160     7760     7760
	14980     38120     7790     7790
	15280     38070     7820     7820
	15580     38030     7870     7870
	15880     38000     7910     7910
	16180     37960     7970     7970
	16480     37930     8030     8030
	16780     37900     8090     8090
	17080     37870     8150     8150
	17380     37840     8220     8220
	17680     37820     8300     8300
	17980     37790     8390     8390
	18280     37760     8470     8470
	18580     37730     8570     8570
	18880     37700     8670     8670
	19180     37670     8780     8780
	19470     37640     8900     8900
	19770     37610     9030     9030
	20070     37570     9170     9170
	20370     37540     9330     9330
	20670     37500     9480     9480
	20970     37460     9660     9660
	21270     37430     9840     9840
	21570     37390     10020     10020
	21870     37350     10220     10220
	22170     37300     10410     10410
	22470     37260     10630     10630
	22770     37210     10850     10850
	23070     37160     11080     11080
	23370     37110     11310     11310
	23670     37060     11550     11550
	23970     37000     11800     11800
	24270     36940     12050     12050
	24570     36880     12320     12320
	24870     36820     12580     12580
	25170     36750     12850     12850
	25470     36670     13110     13110
	25770     36590     13380     13380
	26070     36510     13640     13640
	26370     36410     13900     13900
	26670     36310     14170     14170
	26970     36190     14450     14450
	27270     36060     14740     14740
	27520     35960     14910     14910
	27680     35920     14800     14800
	27810     35890     14720     14720
	27920     35860     14650     14650
	28020     35830     14570     14570
	28110     35800     14510     14510
	28190     35780     14460     14460
	28260     35750     14400     14400
	>;
	battery0_profile_t5_num = <100>;
	battery0_profile_t5_col = <4>;
	battery0_profile_t5 =
	<
	0     44020     8040     8040
	300     43770     8040     8040
	600     43520     9580     9580
	900     43300     9740     9740
	1200     43080     9670     9670
	1500     42890     9560     9560
	1800     42700     9440     9440
	2100     42520     9320     9320
	2400     42340     9190     9190
	2700     42180     9090     9090
	3000     42020     9000     9000
	3290     41870     8900     8900
	3590     41730     8810     8810
	3890     41580     8730     8730
	4190     41440     8640     8640
	4490     41300     8560     8560
	4790     41170     8490     8490
	5090     41050     8440     8440
	5390     40940     8420     8420
	5690     40820     8380     8380
	5990     40690     8330     8330
	6290     40550     8240     8240
	6590     40400     8140     8140
	6890     40250     8020     8020
	7190     40100     7920     7920
	7490     39970     7830     7830
	7790     39860     7780     7780
	8090     39750     7730     7730
	8390     39660     7700     7700
	8690     39570     7690     7690
	8990     39490     7680     7680
	9290     39410     7680     7680
	9580     39330     7660     7660
	9880     39250     7650     7650
	10180     39170     7640     7640
	10480     39090     7630     7630
	10780     39010     7610     7610
	11080     38930     7610     7610
	11380     38850     7610     7610
	11680     38780     7600     7600
	11980     38710     7610     7610
	12280     38640     7610     7610
	12580     38570     7620     7620
	12880     38500     7630     7630
	13180     38440     7650     7650
	13480     38380     7670     7670
	13780     38320     7690     7690
	14080     38270     7700     7700
	14380     38210     7720     7720
	14680     38160     7760     7760
	14980     38120     7790     7790
	15280     38070     7820     7820
	15580     38030     7870     7870
	15880     38000     7910     7910
	16180     37960     7970     7970
	16480     37930     8030     8030
	16780     37900     8090     8090
	17080     37870     8150     8150
	17380     37840     8220     8220
	17680     37820     8300     8300
	17980     37790     8390     8390
	18280     37760     8470     8470
	18580     37730     8570     8570
	18880     37700     8670     8670
	19180     37670     8780     8780
	19470     37640     8900     8900
	19770     37610     9030     9030
	20070     37570     9170     9170
	20370     37540     9330     9330
	20670     37500     9480     9480
	20970     37460     9660     9660
	21270     37430     9840     9840
	21570     37390     10020     10020
	21870     37350     10220     10220
	22170     37300     10410     10410
	22470     37260     10630     10630
	22770     37210     10850     10850
	23070     37160     11080     11080
	23370     37110     11310     11310
	23670     37060     11550     11550
	23970     37000     11800     11800
	24270     36940     12050     12050
	24570     36880     12320     12320
	24870     36820     12580     12580
	25170     36750     12850     12850
	25470     36670     13110     13110
	25770     36590     13380     13380
	26070     36510     13640     13640
	26370     36410     13900     13900
	26670     36310     14170     14170
	26970     36190     14450     14450
	27270     36060     14740     14740
	27520     35960     14910     14910
	27680     35920     14800     14800
	27810     35890     14720     14720
	27920     35860     14650     14650
	28020     35830     14570     14570
	28110     35800     14510     14510
	28190     35780     14460     14460
	28260     35750     14400     14400
	>;
	
	/*vboot voltage for gauge 0%*/
g_PMIC_MIN_VOL_row = <4>;
g_PMIC_MIN_VOL_col = <10>;
g_PMIC_MIN_VOL =
<
	33500  33500  33500  33500
	33000  33000  33000  33000
	33000  33000  33000  33000
	32200  32200  32200  32200
	31000  31000  31000  31000
	31500  31500  31500  31500
	31000  31000  31000  31000
	31000  31000  31000  31000
	31000  31000  31000  31000
	31000  31000  31000  31200
>;
/*boot_up current for gauge 0%*/
g_PON_SYS_IBOOT_row = <4>;
g_PON_SYS_IBOOT_col = <10>;
g_PON_SYS_IBOOT =
<
	5000  5000  5000  5000
	5000  5000  5000  5000
	5000  5000  5000  5000
	5000  5000  5000  5000
	5000  5000  5000  5000
	5000  5000  5000  5000
	5000  5000  5000  5000
	5000  5000  5000  5000
	5000  5000  5000  5000
	5000  5000  5000  5000
>;
/*Pseudo1 hide percentage*/
g_QMAX_SYS_VOL_row = <4>;
g_QMAX_SYS_VOL_col = <10>;
g_QMAX_SYS_VOL =
<
	34950  34950  34950  34950
	34950  34950  34950  34950
	34250  34250  34250  34250
	34250  34250  34250  34250
	34250  34250  34250  34250
	32500  32500  32500  32500
	32800  32800  32800  32800
	32800  32800  32800  32800
	32800  32800  32800  32800
	32800  32800  32800  32800
>;
/*Pseudo100 percentage setting*/
g_FG_PSEUDO100_row = <4>;
g_FG_PSEUDO100_col = <10>;
g_FG_PSEUDO100 =
<
	100  100  100  100
	100  100  100  100
	100  100  100  100
	100  100  100  100
	100  100  100  100
	100  100  100  100
	100  100  100  100
	100  100  100  100
	100  100  100  100
	100  100  100  100
>;

/* charge_r  pseudo100 setting*/
g_FG_charge_PSEUDO100_row = <4>;
g_FG_charge_PSEUDO100_col = <10>;
g_FG_charge_PSEUDO100 =
<
	100   100  100  100
	100   100  100  100
	100   100  100  100
	100   100  100  100
	100   100  100  100
	100   100  100  100
	100   100  100  100
	100   100  100  100
	100   100  100  100
	100   100  100  100
>;

g_Q_MAX =
<
	2951   2951   2951   2951
	2939   2939   2939   2939
	2939   2939   2939   2939
	2937   2937   2937   2937
	2747   2747   2747   2747
	2747   2747   2747   2747
	2747   2747   2747   2747
	2747   2747   2747   2747
	2747   2747   2747   2747
	2747   2747   2747   2747
>;

g_Q_MAX_H_CURRENT =
<
	2938   2938   2938   2938
	2914   2914   2914   2914
	2914   2914   2914   2914
	2611   2611   2611   2611
	1976   1976   1976   1976
	1976   1976   1976   1976
	1976   1976   1976   1976
	1976   1976   1976   1976
	1976   1976   1976   1976
	1976   1976   1976   1976
>;
};
#include <q30_v1_factory/cust.dtsi>
/*End of this file, DO NOT ADD ANYTHING HERE*/
